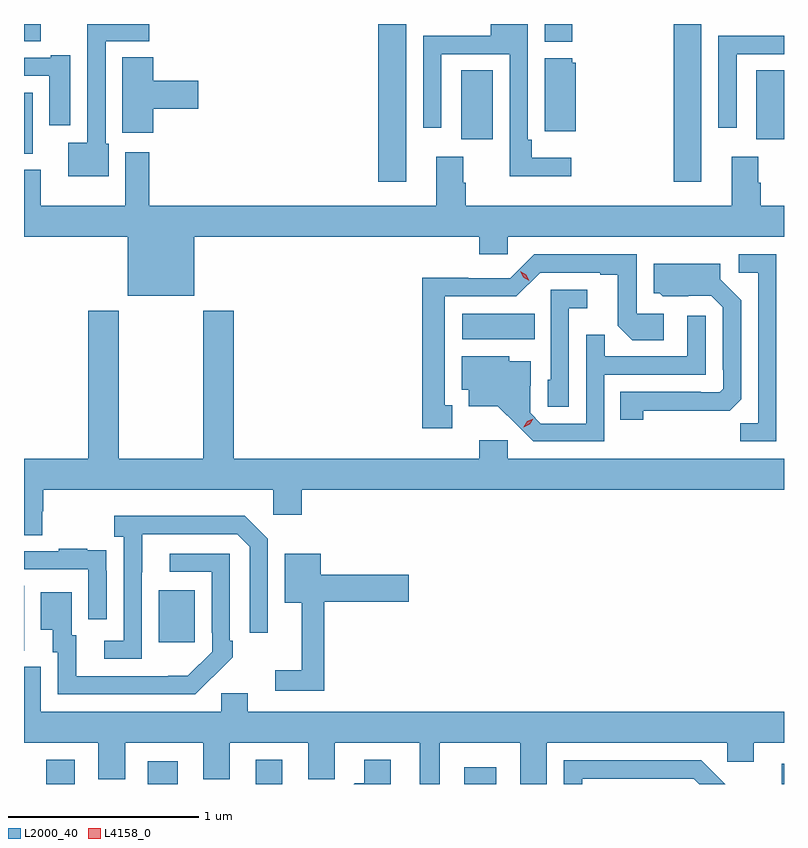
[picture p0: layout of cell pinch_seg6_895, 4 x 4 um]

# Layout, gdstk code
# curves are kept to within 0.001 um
import gdstk
lib = gdstk.Library(unit=1e-6, precision=1e-09)
def R(c, l, rs):  # rectangles x0, y0, x1, y1
    for r in rs: c.add(gdstk.rectangle(r[:2], r[2:], *l))
def P(c, l, *ps):  # polygons
    for p in ps: c.add(gdstk.Polygon(p, *l))
L2000_40 = (2000, 40)
L4158_0 = (4158, 0)

pinch_seg6_895 = lib.new_cell('pinch_seg6_895')
R(pinch_seg6_895, L2000_40, [(336.983,939.128,337.135,939.256), (337.517,939.128,337.675,939.247), (338.087,939.128,338.227,939.256), (339.183,939.128,339.352,939.217), (340.854,939.128,340.867,939.234), (336.867,939.829,336.868,940.172), (337.577,939.873,337.765,940.147), (339.174,941.468,339.554,941.602), (338.732,942.297,338.878,943.128), (340.286,942.297,340.432,943.128), (336.867,942.446,336.913,942.766), (339.167,942.522,339.334,942.884), (340.721,942.522,340.867,942.884), (339.608,943.034,339.752,943.128), (336.867,943.036,336.955,943.128)])
P(pinch_seg6_895, L2000_40, [(337.312,942.498),(337.296,942.498),(337.296,943.038),(337.525,943.038),(337.525,943.128),(337.2,943.128),(337.2,942.502),(337.1,942.502),(337.1,942.326),(337.312,942.326)],
  [(339.748,942.424),(339.539,942.424),(339.539,942.52),(339.519,942.52),(339.519,943.128),(339.323,943.128),(339.323,943.065),(338.967,943.065),(338.967,942.582),(339.063,942.582),(339.063,942.969),(339.423,942.969),(339.423,942.326),(339.748,942.326)],
  [(340.617,942.969),(340.867,942.969),(340.867,943.065),(340.521,943.065),(340.521,942.582),(340.617,942.582)],
  [(337.111,942.964),(337.007,942.964),(337.007,942.951),(336.867,942.951),(336.867,942.855),(337.001,942.855),(337.001,942.594),(337.111,942.594)],
  [(337.547,942.683),(337.783,942.683),(337.783,942.83),(337.547,942.83),(337.547,942.953),(337.385,942.953),(337.385,942.555),(337.547,942.555)],
  [(339.772,942.924),(339.753,942.924),(339.753,942.949),(339.608,942.949),(339.608,942.563),(339.772,942.563)],
  [(337.762,942.008),(339.263,942.008),(339.263,941.915),(339.414,941.915),(339.414,942.008),(340.867,942.008),(340.867,942.172),(340.745,942.172),(340.745,942.293),(340.732,942.293),(340.732,942.43),(340.592,942.43),(340.592,942.172),(339.191,942.172),(339.191,942.293),(339.178,942.293),(339.178,942.43),(339.038,942.43),(339.038,942.172),(337.526,942.172),(337.526,942.454),(337.4,942.454),(337.4,942.172),(336.955,942.172),(336.955,942.361),(336.867,942.361),(336.867,942.008),(337.412,942.008),(337.412,941.699),(337.762,941.699)],
  [(340.827,941.916),(340.629,941.916),(340.629,941.82),(340.731,941.82),(340.731,941.027),(340.636,941.027),(340.636,940.932),(340.827,940.932)],
  [(339.121,941.121),(339.082,941.121),(339.082,941.694),(339.459,941.694),(339.585,941.82),(339.899,941.82),(339.899,941.808),(339.993,941.808),(339.993,941.54),(340.069,941.464),(340.234,941.464),(340.234,941.604),(340.092,941.604),(340.092,941.916),(339.552,941.916),(339.426,941.79),(339.204,941.79),(339.204,941.792),(338.964,941.792),(338.964,941.001),(339.121,941.001)],
  [(340.125,941.092),(340.582,941.093),(340.641,941.152),(340.641,941.674),(340.531,941.784),(340.531,941.866),(340.181,941.866),(340.181,941.712),(340.212,941.712),(340.228,941.696),(340.485,941.697),(340.545,941.637),(340.545,941.308),(340.548,941.308),(340.548,941.208),(340.53,941.19),(340.43,941.19),(340.43,941.193),(340.006,941.193),(340.006,941.046),(340.125,941.046)],
  [(339.735,941.633),(339.832,941.633),(339.832,941.73),(339.639,941.73),(339.639,941.256),(339.624,941.256),(339.624,941.113),(339.735,941.113)],
  [(336.963,940.563),(336.968,940.563),(336.968,940.676),(338.178,940.676),(338.178,940.545),(338.33,940.545),(338.33,940.676),(340.867,940.676),(340.867,940.84),(339.414,940.84),(339.414,940.936),(339.263,940.936),(339.263,940.84),(337.97,940.84),(337.97,941.62),(337.81,941.62),(337.81,940.84),(337.365,940.84),(337.365,941.62),(337.205,941.62),(337.205,940.84),(336.867,940.84),(336.867,940.438),(336.963,940.438)],
  [(339.921,941.283),(340.455,941.283),(340.455,941.593),(340.359,941.593),(340.359,941.379),(339.923,941.379),(339.923,941.492),(339.825,941.492),(339.825,941.025),(339.588,941.025),(339.531,941.082),(339.531,941.224),(339.535,941.224),(339.535,941.353),(339.42,941.353),(339.42,941.38),(339.17,941.38),(339.17,941.204),(339.209,941.204),(339.209,941.117),(339.361,941.117),(339.548,940.932),(339.921,940.932)],
  [(337.488,940.243),(337.489,940.443),(337.989,940.443),(338.055,940.377),(338.055,939.924),(338.151,939.924),(338.151,940.419),(338.03,940.54),(337.341,940.54),(337.341,940.43),(337.392,940.43),(337.392,939.882),(337.29,939.882),(337.29,939.786),(337.488,939.786)],
  [(337.302,940.25),(337.301,940.25),(337.301,940.359),(337.199,940.359),(337.199,940.366),(337.051,940.366),(337.051,940.353),(336.867,940.353),(336.867,940.257),(337.206,940.257),(337.206,939.996),(337.302,939.996)],
  [(337.859,939.691),(337.86,939.69),(337.965,939.795),(337.965,939.883),(337.95,939.883),(337.95,940.341),(337.635,940.341),(337.635,940.245),(337.854,940.245),(337.854,939.925),(337.857,939.925),(337.857,939.825),(337.729,939.697),(337.141,939.696),(337.141,939.912),(337.117,939.912),(337.117,940.138),(336.956,940.138),(336.956,939.941),(337.019,939.941),(337.019,939.822),(337.044,939.822),(337.044,939.6),(337.768,939.6)],
  [(338.447,940.088),(338.893,940.088),(338.893,940.23),(338.428,940.23),(338.428,940.339),(338.24,940.339),(338.24,940.082),(338.33,940.082),(338.33,939.727),(338.19,939.727),(338.19,939.618),(338.447,939.618)],
  [(339.055,939.344),(339.479,939.344),(339.479,939.128),(339.619,939.128),(339.619,939.344),(340.569,939.344),(340.569,939.246),(340.708,939.246),(340.708,939.344),(340.867,939.344),(340.867,939.508),(338.044,939.508),(338.044,939.606),(337.905,939.606),(337.905,939.508),(336.955,939.508),(336.955,939.744),(336.867,939.744),(336.867,939.344),(337.259,939.344),(337.259,939.154),(337.399,939.154),(337.399,939.344),(337.811,939.344),(337.811,939.154),(337.951,939.154),(337.951,939.344),(338.363,939.344),(338.363,939.154),(338.502,939.154),(338.502,939.344),(338.951,939.344),(338.951,939.128),(339.055,939.128)],
  [(338.797,939.256),(338.657,939.256),(338.657,939.133),(338.608,939.133),(338.603,939.128),(338.797,939.128)],
  [(339.805,939.156),(340.393,939.156),(340.421,939.128),(340.558,939.128),(340.524,939.162),(340.523,939.161),(340.432,939.252),(339.708,939.252),(339.708,939.128),(339.805,939.128)])
P(pinch_seg6_895, L4158_0, [(339.497,941.006),(339.497,941.007),(339.515,941.036),(339.546,941.05),(339.546,941.05),(339.546,941.05),(339.528,941.021),(339.497,941.006)],
  [(339.527,941.776),(339.495,941.795),(339.478,941.827),(339.478,941.828),(339.478,941.828),(339.51,941.809),(339.527,941.776),(339.527,941.776)])

lib.write_gds('pinch_seg6_895.gds')
